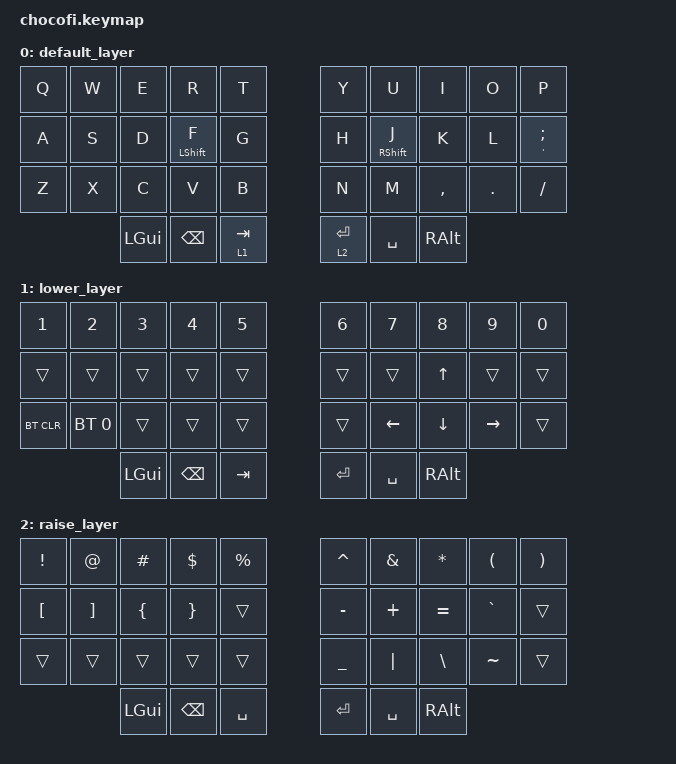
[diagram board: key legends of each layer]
/*
 * Copyright (c) 2020 The ZMK Contributors
 *
 * SPDX-License-Identifier: MIT
 */

#include <behaviors.dtsi>
#include <dt-bindings/zmk/keys.h>
#include <dt-bindings/zmk/bt.h>

/ {
        keymap {
                compatible = "zmk,keymap";

                default_layer {
// -----------------------------------------------------------------------------------------
// |  Q  |  W  |  E  |  R       |  T  |   |  Y  |  U        |  I  |  O  |  P    |
// |  A  |  S  |  D  |  F/SHFT  |  G  |   |  H  |  J/SHFT   |  K  |  L  |  ;/'  |
// |  Z  |  X  |  C  |  V       |  B  |   |  N  |  M        |  ,  |  .  |  /    |
//                 | GUI | BSPC | TAB |   | ENT | SPACE     | ALT |
                        bindings = <
   &kp Q &kp W &kp E &kp R       &kp T        &kp Y &kp U        &kp I     &kp O   &kp P
   &kp A &kp S &kp D &mt LSHFT F &kp G        &kp H &mt RSHFT J  &kp K     &kp L   &mt SQT SEMI
   &kp Z &kp X &kp C &kp V       &kp B        &kp N &kp M        &kp COMMA &kp DOT &kp FSLH
           &kp LGUI &kp BSPC &lt 1 TAB        &lt 2 RET &kp SPACE &kp RALT
                        >;
                };
                lower_layer {
// -----------------------------------------------------------------------------------------
// |  1  |  2  |  3  |  4  |  5  |   |  6  |  7  |  8  |  9  |  0  | BSPC |
// |     |     |     |     |     |   |     |     |  UP |     |     |      |
// | BT_CLR | BT_SEL 0 |    |     |     |   |     | LFT | DWN | RGT |     |      |
//            | GUI | BSPC | TAB |   | ENT | SPACE | ALT |
                        bindings = <
   &kp N1       &kp N2          &kp N3  &kp N4  &kp N5       &kp N6 &kp N7      &kp N8      &kp N9      &kp N0
   &trans       &trans          &trans  &trans  &trans       &trans &trans      &kp UP      &trans      &trans
   &bt BT_CLR   &bt BT_SEL 0    &trans  &trans  &trans       &trans &kp LEFT    &kp DOWN    &kp RIGHT   &trans
                        &kp LGUI    &kp BSPC   &kp TAB       &kp RET    &kp SPACE   &kp RALT
                        >;
                };

                raise_layer {
// -----------------------------------------------------------------------------------------
// |  !  |  @  |  #  |  $  |  %  |   |  ^  |  &  |  *  |  (  |  )  |
// |  [  |  ]  |  {  |  }  |     |   |  -  |  +  |  =  |  `  |     |
// |     |     |     |     |     |   |  _  |  |  |  \  |  ~  |     |
//            | GUI | BSPC | TAB |   | ENT | SPACE | ALT |
                        bindings = <
   &kp EXCL &kp AT      &kp HASH    &kp DLLR    &kp PRCNT       &kp CARET   &kp AMPS    &kp ASTRK   &kp LPAR    &kp RPAR
   &kp LBKT &kp RBKT    &kp LBRC    &kp RBRC    &trans          &kp MINUS &kp PLUS      &kp EQUAL   &kp GRAVE   &trans
   &trans   &trans      &trans      &trans      &trans          &kp UNDER &kp PIPE      &kp BSLH    &kp TILDE   &trans
                        &kp LGUI    &kp BSPC    &kp SPACE       &kp RET   &kp SPACE     &kp RALT
                        >;
                };
        };
};
